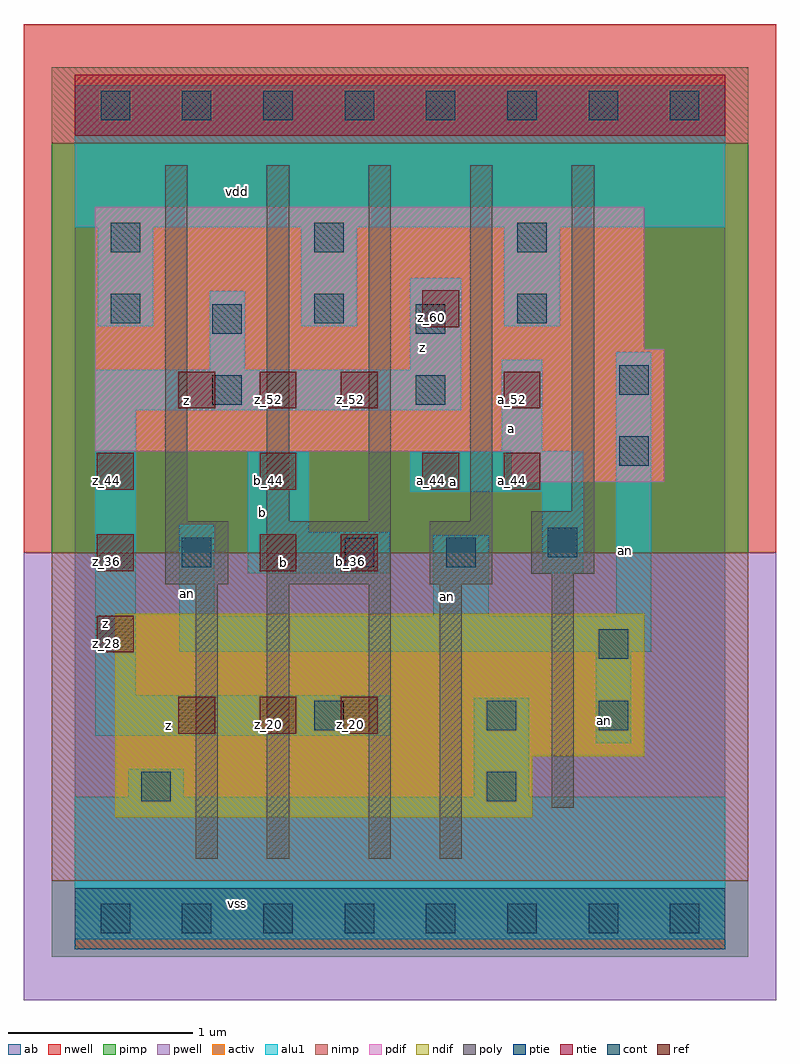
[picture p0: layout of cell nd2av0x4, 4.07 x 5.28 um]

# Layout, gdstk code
import gdstk
lib = gdstk.Library(unit=1e-6, precision=2.5e-09)
def R(c, l, rs):  # rectangles x0, y0, x1, y1
    for r in rs: c.add(gdstk.rectangle(r[:2], r[2:], *l))
def A(c, l, x, y, w, h, nx, ny, dx, dy):  # array of equal rectangles
    R(c, l, [(x+i*dx, y+j*dy, x+i*dx+w, y+j*dy+h) for i in range(nx) for j in range(ny)])
ndif = (3, 0)
pdif = (4, 0)
ntie = (5, 0)
ptie = (6, 0)
ref = (24, 0)
cont = (25, 0)
pwell = (41, 0)
nwell = (42, 0)
activ = (43, 0)
pimp = (44, 0)
nimp = (45, 0)
poly = (46, 0)
alu1 = (49, 0)
ab = (63, 0)

nd2av0x4 = lib.new_cell('nd2av0x4')
R(nd2av0x4, ndif, [(0.22,0.55,2.475,0.88), (0.22,0.88,3.08,1.65)])
R(nd2av0x4, pdif, [(2.365,2.365,3.19,2.53), (0.11,2.53,3.19,3.08), (0.11,3.08,3.08,3.85)])
R(nd2av0x4, ntie, [(0,4.235,3.52,4.565)])
R(nd2av0x4, ptie, [(0,-0.165,3.52,0.165)])
A(nd2av0x4, ref, 0.56, 1, 0.2, 0.2, 3, 2, 0.44, 1.76)
A(nd2av0x4, ref, 0.12, 2.32, 0.2, 0.2, 3, 1, 0.88, 0)
R(nd2av0x4, ref, [(0.12,1.44,0.32,1.64), (0.12,1.88,0.32,2.08), (1,1.88,1.2,2.08), (1.44,1.88,1.64,2.08), (2.32,2.32,2.52,2.52), (2.32,2.76,2.52,2.96), (1.88,3.2,2.08,3.4)])
A(nd2av0x4, cont, 0.14, -0.08, 0.16, 0.16, 8, 2, 0.44, 4.4)
A(nd2av0x4, cont, 0.195, 3.22, 0.16, 0.16, 3, 2, 1.1, 0.385)
R(nd2av0x4, cont, [(0.36,0.635,0.52,0.795), (2.23,0.635,2.39,0.795), (1.295,1.02,1.455,1.18), (2.23,1.02,2.39,1.18), (2.835,1.02,2.995,1.18), (2.835,1.405,2.995,1.565), (0.58,1.9,0.74,2.06), (1.46,1.9,1.62,2.06), (2.01,1.9,2.17,2.06), (2.56,1.955,2.72,2.115), (2.945,2.45,3.105,2.61), (0.745,2.78,0.905,2.94), (1.845,2.78,2.005,2.94), (2.945,2.835,3.105,2.995), (0.745,3.165,0.905,3.325), (1.845,3.165,2.005,3.325)])
R(nd2av0x4, pwell, [(-0.275,-0.44,3.795,1.98)])
R(nd2av0x4, nwell, [(-0.275,1.98,3.795,4.84)])
R(nd2av0x4, activ, [(0,-0.165,3.52,0.165), (0.22,0.55,2.475,0.88), (0.22,0.88,3.08,1.65), (2.365,2.365,3.19,2.53), (0.11,2.53,3.19,3.08), (0.11,3.08,3.08,3.85), (0,4.235,3.52,4.565)])
R(nd2av0x4, pimp, [(-0.125,-0.205,3.645,0.205), (-0.125,1.98,3.645,4.195)])
R(nd2av0x4, nimp, [(-0.125,0.205,3.645,1.98), (-0.125,4.195,3.645,4.605)])
A(nd2av0x4, poly, 0.49, 2.15, 0.12, 1.925, 4, 1, 0.55, 0)
R(nd2av0x4, poly, [(0.655,0.325,0.775,1.81), (1.04,0.325,1.16,1.81), (1.59,0.325,1.71,1.81), (1.975,0.325,2.095,1.81), (2.58,0.6,2.7,1.865), (0.49,1.81,0.83,2.15), (1.04,1.81,1.71,2.15), (1.92,1.81,2.26,2.15), (2.47,1.865,2.81,2.205), (2.69,2.205,2.81,4.075)])
A(nd2av0x4, alu1, 0.125, 3.205, 0.3, 0.535, 3, 1, 1.1, 0)
R(nd2av0x4, alu1, [(0,-0.11,3.52,0.66), (0.29,0.66,0.59,0.81), (2.16,0.66,2.46,1.195), (2.82,0.95,3.01,1.445), (0.11,0.99,1.705,1.21), (0.11,1.21,0.33,2.75), (0.565,1.445,3.12,1.635), (0.565,1.635,0.755,2.13), (1.94,1.635,2.24,2.075), (2.93,1.635,3.12,3.065), (0.935,1.87,1.705,2.09), (2.53,1.87,2.75,2.31), (0.935,2.09,1.265,2.53), (1.815,2.31,2.75,2.53), (2.31,2.53,2.53,3.025), (0.11,2.75,2.09,2.97), (0.73,2.97,0.92,3.395), (1.815,2.97,2.09,3.465), (0,3.74,3.52,4.51)])
R(nd2av0x4, ab, [(0,0,3.52,4.4)])
nd2av0x4.add(gdstk.Label('vss', (0.88,0.0825), layer=49, texttype=0))
nd2av0x4.add(gdstk.Label('an', (2.8675,1.0725), layer=49, texttype=0))
nd2av0x4.add(gdstk.Label('z', (0.5075,1.045), layer=49, texttype=0))
nd2av0x4.add(gdstk.Label('an', (2.9775,1.9925), layer=49, texttype=0))
nd2av0x4.add(gdstk.Label('an', (2.015,1.745), layer=49, texttype=0))
nd2av0x4.add(gdstk.Label('b', (1.1275,1.925), layer=49, texttype=0))
nd2av0x4.add(gdstk.Label('a', (2.0475,2.365), layer=49, texttype=0))
nd2av0x4.add(gdstk.Label('b', (1.0175,2.2), layer=49, texttype=0))
nd2av0x4.add(gdstk.Label('an', (0.6125,1.7575), layer=49, texttype=0))
nd2av0x4.add(gdstk.Label('a', (2.365,2.6525), layer=49, texttype=0))
nd2av0x4.add(gdstk.Label('z', (0.165,1.595), layer=49, texttype=0))
nd2av0x4.add(gdstk.Label('z', (0.605,2.805), layer=49, texttype=0))
nd2av0x4.add(gdstk.Label('z', (1.8825,3.0925), layer=49, texttype=0))
nd2av0x4.add(gdstk.Label('vdd', (0.88,3.9325), layer=49, texttype=0))
nd2av0x4.add(gdstk.Label('z_20', (0.61,1.05), layer=24, texttype=0))
nd2av0x4.add(gdstk.Label('z_52', (0.61,2.81), layer=24, texttype=0))
nd2av0x4.add(gdstk.Label('z_20', (1.05,1.05), layer=24, texttype=0))
nd2av0x4.add(gdstk.Label('b_36', (1.05,1.93), layer=24, texttype=0))
nd2av0x4.add(gdstk.Label('b_44', (1.05,2.37), layer=24, texttype=0))
nd2av0x4.add(gdstk.Label('z_52', (1.05,2.81), layer=24, texttype=0))
nd2av0x4.add(gdstk.Label('z_20', (1.49,1.05), layer=24, texttype=0))
nd2av0x4.add(gdstk.Label('b_36', (1.49,1.93), layer=24, texttype=0))
nd2av0x4.add(gdstk.Label('z_52', (1.49,2.81), layer=24, texttype=0))
nd2av0x4.add(gdstk.Label('a_44', (1.93,2.37), layer=24, texttype=0))
nd2av0x4.add(gdstk.Label('z_60', (1.93,3.25), layer=24, texttype=0))
nd2av0x4.add(gdstk.Label('z_28', (0.17,1.49), layer=24, texttype=0))
nd2av0x4.add(gdstk.Label('z_36', (0.17,1.93), layer=24, texttype=0))
nd2av0x4.add(gdstk.Label('z_44', (0.17,2.37), layer=24, texttype=0))
nd2av0x4.add(gdstk.Label('a_44', (2.37,2.37), layer=24, texttype=0))
nd2av0x4.add(gdstk.Label('a_52', (2.37,2.81), layer=24, texttype=0))

lib.write_gds('nd2av0x4.gds')
